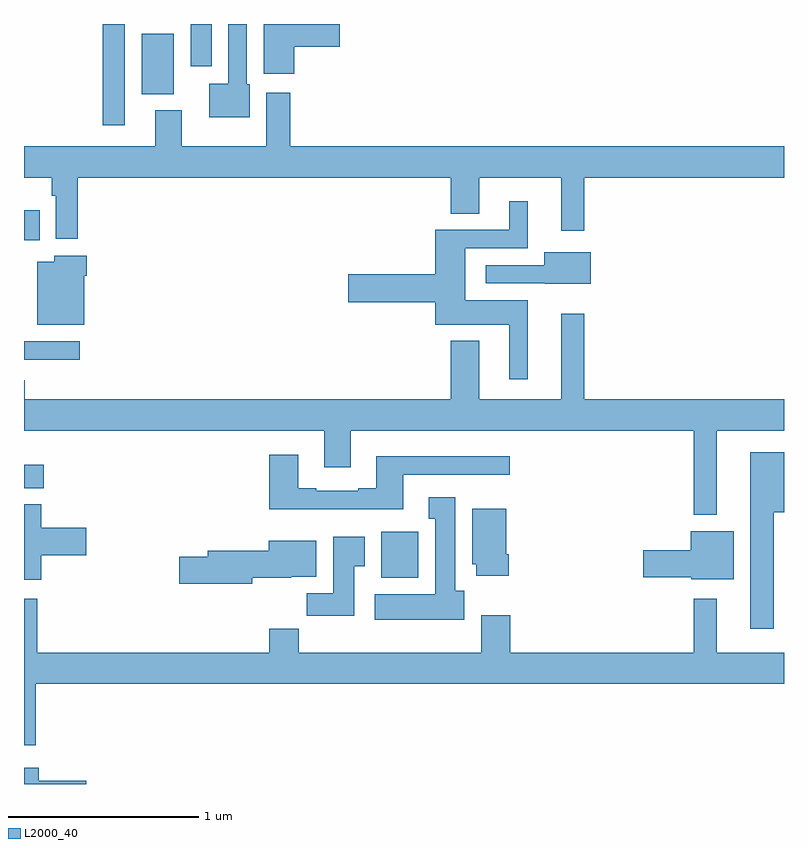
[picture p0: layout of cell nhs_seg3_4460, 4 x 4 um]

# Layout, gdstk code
import gdstk
lib = gdstk.Library(unit=1e-6, precision=1e-09)
def R(c, l, rs):  # rectangles x0, y0, x1, y1
    for r in rs: c.add(gdstk.rectangle(r[:2], r[2:], *l))
def P(c, l, *ps):  # polygons
    for p in ps: c.add(gdstk.Polygon(p, *l))
L2000_40 = (2000, 40)

nhs_seg3_4460 = lib.new_cell('nhs_seg3_4460')
R(nhs_seg3_4460, L2000_40, [(350.879,689.486,351.076,689.728), (349,689.957,349.105,690.079), (349,690.633,349.294,690.729), (349,691.262,349.082,691.42), (349.414,691.866,349.53,692.4), (349.619,692.03,349.789,692.35), (349.877,692.178,349.987,692.4)])
P(nhs_seg3_4460, L2000_40, [(350.423,692.279),(350.663,692.279),(350.663,692.4),(350.261,692.4),(350.261,692.139),(350.423,692.139)],
  [(350.188,692.082),(350.172,692.082),(350.172,692.4),(350.076,692.4),(350.076,692.086),(349.976,692.086),(349.976,691.91),(350.188,691.91)],
  [(349.283,691.592),(351.245,691.592),(351.245,691.402),(351.397,691.402),(351.397,691.592),(351.827,691.592),(351.827,691.311),(351.949,691.311),(351.949,691.592),(353,691.592),(353,691.756),(350.402,691.756),(350.402,692.038),(350.276,692.038),(350.276,691.756),(349.831,691.756),(349.831,691.945),(349.691,691.945),(349.691,691.756),(349,691.756),(349,691.592),(349.147,691.592),(349.147,691.496),(349.167,691.496),(349.167,691.269),(349.283,691.269)],
  [(351.652,690.946),(351.322,690.946),(351.322,691.221),(351.652,691.221),(351.652,691.468),(351.554,691.468),(351.554,691.317),(351.164,691.317),(351.164,691.082),(350.706,691.082),(350.706,690.935),(351.164,690.935),(351.164,690.818),(351.554,690.818),(351.554,690.531),(351.652,690.531)],
  [(351.982,691.198),(351.737,691.198),(351.737,691.131),(351.429,691.131),(351.429,691.035),(351.741,691.035),(351.741,691.034),(351.982,691.034)],
  [(349.318,691.076),(349.331,691.076),(349.331,691.18),(349.16,691.18),(349.16,691.15),(349.07,691.15),(349.07,690.818),(349.318,690.818)],
  [(352.645,690.26),(353,690.26),(353,690.424),(351.949,690.424),(351.949,690.874),(351.827,690.874),(351.827,690.424),(351.397,690.424),(351.397,690.733),(351.245,690.733),(351.245,690.424),(349.004,690.424),(349.004,690.526),(349,690.526),(349,690.26),(350.579,690.26),(350.579,690.066),(350.719,690.066),(350.719,690.26),(352.524,690.26),(352.524,689.816),(352.645,689.816)],
  [(352.945,689.83),(353,689.83),(353,690.145),(352.823,690.145),(352.823,689.217),(352.945,689.217)],
  [(350.995,690.027),(351.556,690.027),(351.556,690.124),(350.855,690.124),(350.855,689.956),(350.759,689.956),(350.759,689.943),(350.539,689.943),(350.539,689.956),(350.443,689.956),(350.443,690.133),(350.291,690.133),(350.291,689.846),(350.995,689.846)],
  [(351.316,689.418),(351.271,689.418),(351.271,689.908),(351.131,689.908),(351.131,689.795),(351.164,689.795),(351.164,689.398),(350.847,689.398),(350.847,689.264),(351.316,689.264)],
  [(349.091,689.603),(349.327,689.603),(349.327,689.75),(349.091,689.75),(349.091,689.872),(349,689.872),(349,689.475),(349.091,689.475)],
  [(351.551,689.608),(351.538,689.608),(351.538,689.848),(351.359,689.848),(351.359,689.556),(351.38,689.556),(351.38,689.496),(351.551,689.496)],
  [(352.735,689.731),(352.508,689.731),(352.508,689.63),(352.26,689.63),(352.26,689.488),(352.512,689.488),(352.512,689.477),(352.735,689.477)],
  [(350.737,689.545),(350.794,689.545),(350.794,689.701),(350.627,689.701),(350.627,689.404),(350.488,689.404),(350.488,689.286),(350.737,689.286)],
  [(350.202,689.486),(350.406,689.486),(350.406,689.492),(350.539,689.492),(350.539,689.68),(350.288,689.68),(350.288,689.627),(349.967,689.627),(349.967,689.597),(349.818,689.597),(349.818,689.455),(350.202,689.455)],
  [(349.061,688.928),(353,688.928),(353,689.092),(352.645,689.092),(352.645,689.374),(352.524,689.374),(352.524,689.092),(351.56,689.092),(351.56,689.287),(351.407,689.287),(351.407,689.092),(350.447,689.092),(350.447,689.216),(350.291,689.216),(350.291,689.092),(349.07,689.092),(349.07,689.374),(349,689.374),(349,688.605),(349.061,688.605)],
  [(349.327,688.418),(349.078,688.418),(349.078,688.486),(349,688.486),(349,688.4),(349.327,688.4)])

lib.write_gds('nhs_seg3_4460.gds')
